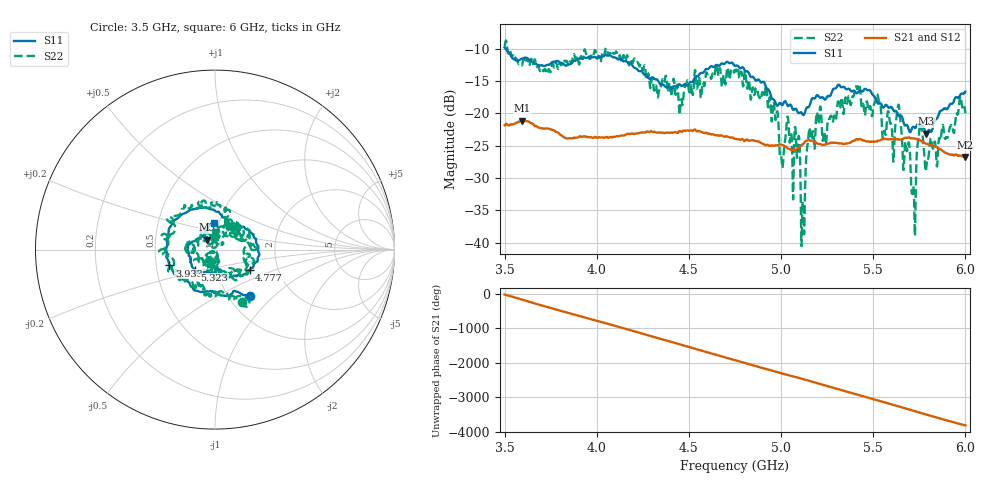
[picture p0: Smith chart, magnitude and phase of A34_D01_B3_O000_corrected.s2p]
! Created with skrf 1.9.0 (http://scikit-rf.org).
# Hz S RI R 50.0
!freq ReS11 ImS11 ReS21 ImS21 ReS12 ImS12 ReS22 ImS22
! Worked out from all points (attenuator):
!   1601 points, 3.5 GHz to 6 GHz, reference 50 ohm
!   highest |S21| = -21.16 dB at 3.594 GHz (marker M1); lowest = -26.8 dB at 6 GHz (marker M2)
!   lowest |S11| = -23.1 dB at 5.787 GHz (marker M3), VSWR 1.15, Z = 45.7 + j5.07 ohm
!   |S11| at or under -10 dB: 3.505 GHz to end of sweep
!   |S22| runs from -40.5 to -8.8 dB; largest |S21 - S12| = 0.0012
!   S11 on the Smith chart (normalised r, x): 3.5 GHz: 1.26, -0.72; 3.933 GHz: 0.59, -0.11; 4.777 GHz: 1.43, -0.34; 5.323 GHz: 0.78, -0.18; 6 GHz: 0.94, +0.28
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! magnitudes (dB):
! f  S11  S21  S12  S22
! 3.5 GHz  -9.8  -21.9  -21.9  -9.7
! 3.594 GHz  -11.6  -21.2  -21.2  -12.6
! 3.917 GHz  -11.6  -23.7  -23.7  -11.2
! 3.933 GHz  -11.4  -23.5  -23.5  -10.2
! 4.334 GHz  -15.1  -23.0  -22.9  -17.1
! 4.75 GHz  -12.7  -24.0  -23.9  -13.4
! 4.777 GHz  -13.0  -24.1  -24.1  -14.5
! 4.969 GHz  -18.3  -24.9  -24.9  -20.9
! 5.003 GHz  -18.7  -24.9  -24.9  -27.3
! 5.031 GHz  -18.6  -25.3  -25.3  -21.1
! 5.086 GHz  -19.6  -25.6  -25.6  -26.9
! 5.119 GHz  -20.2  -24.8  -24.7  -33.8
! 5.145 GHz  -19.1  -24.2  -24.2  -24.4
! 5.167 GHz  -17.7  -24.3  -24.2  -23.7
! 5.323 GHz  -15.9  -24.7  -24.6  -18.3
! 5.416 GHz  -16.9  -24.0  -24.1  -16.2
! 5.584 GHz  -19.2  -24.0  -24.0  -20.0
! 5.641 GHz  -20.5  -24.1  -24.0  -19.1
! 5.719 GHz  -22.1  -23.9  -23.9  -31.6
! 5.752 GHz  -21.9  -24.1  -24.1  -22.1
! 5.787 GHz  -23.1  -24.7  -24.7  -28.4
! 6 GHz  -16.7  -26.8  -26.7  -20.0
